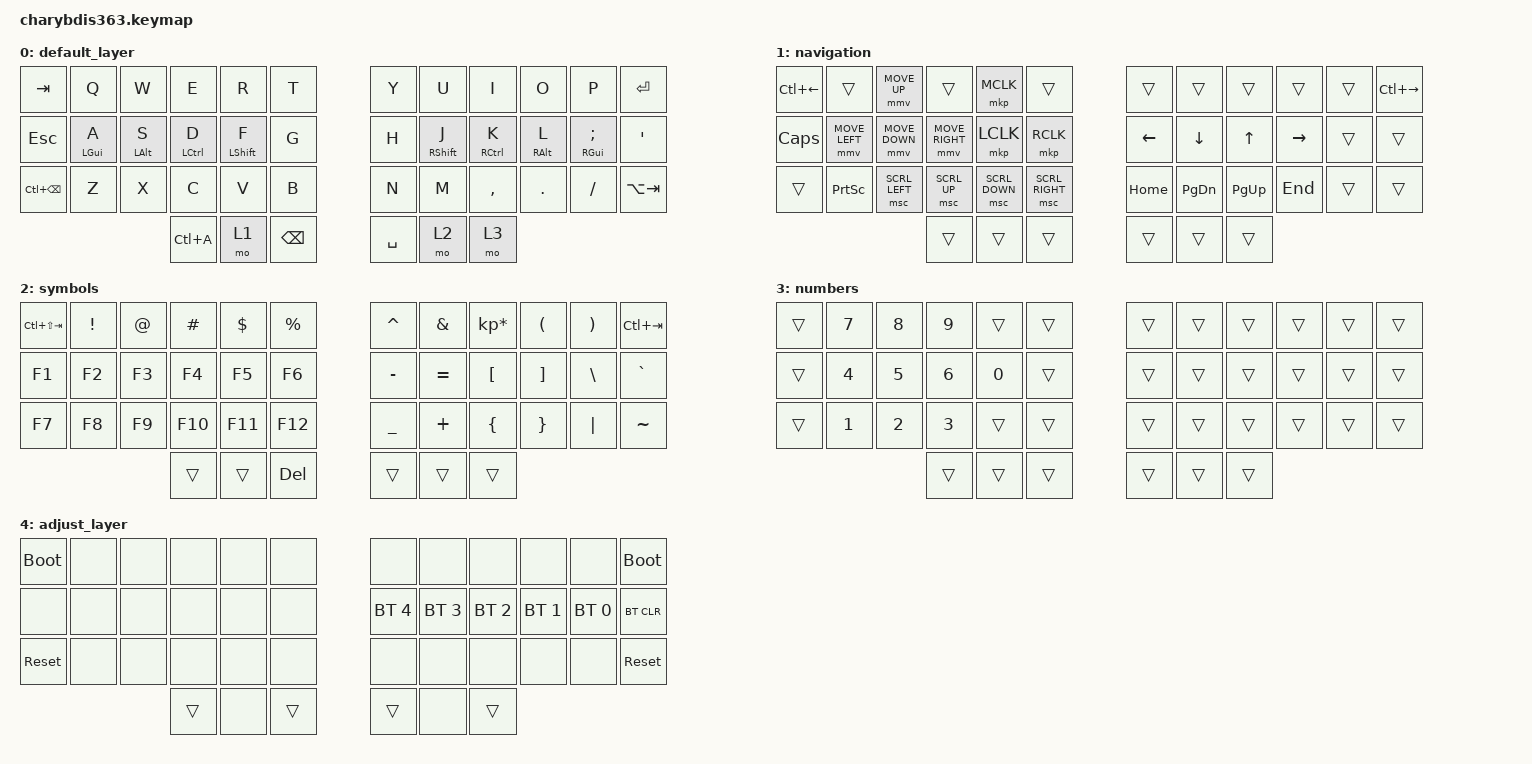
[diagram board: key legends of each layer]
#include <behaviors/mouse_keys.dtsi>
#include <dt-bindings/zmk/mouse.h>
#include <behaviors.dtsi>
#include <dt-bindings/zmk/bt.h>
#include <dt-bindings/zmk/keys.h>

// https://zmk.dev/docs/keymaps/behaviors/mouse-emulation#mouse-emulation-defines
#define ZMK_POINTING_DEFAULT_MOVE_VAL 1500  // default: 600
#define ZMK_POINTING_DEFAULT_SCRL_VAL 15    // default: 10

#include <dt-bindings/zmk/pointing.h>

&mmv {
    time-to-max-speed-ms = <300>;
    acceleration-exponent = <1>;
};

&msc {
    time-to-max-speed-ms = <1000>;
    acceleration-exponent = <0>; 
};

/ {
    chosen { zmk,matrix_transform = &default_transform; };
};

/ {
    behaviors {
        hml: home_row_mod_left {
            compatible = "zmk,behavior-hold-tap";
            #binding-cells = <2>;
            flavor = "balanced";
            require-prior-idle-ms = <75>;
            tapping-term-ms = <280>;
            quick-tap-ms = <175>;
            bindings = <&kp>, <&kp>;
            // TRIGGER: Right Hand Keys (Indices 6-11, 18-23, 30-35) + Right Thumbs (39-41)
            hold-trigger-key-positions = <6 7 8 9 10 11 18 19 20 21 22 23 30 31 32 33 34 35 39 40 41>;
            hold-trigger-on-release;
        };

        hmr: home_row_mod_right {
            compatible = "zmk,behavior-hold-tap";
            #binding-cells = <2>;
            flavor = "balanced";
            require-prior-idle-ms = <75>;
            tapping-term-ms = <280>;
            quick-tap-ms = <175>;
            bindings = <&kp>, <&kp>;
            // TRIGGER: Left Hand Keys (Indices 0-5, 12-17, 24-29) + Left Thumbs (36-38)
            hold-trigger-key-positions = <0 1 2 3 4 5 12 13 14 15 16 17 24 25 26 27 28 29 36 37 38>;
            hold-trigger-on-release;
        };
    };


    combos {

// 00	01	02	03	04	05		06	07	08	09	10	11
// 12	13	14	15	16	17		18	19	20	21	22	23
// 24	25	26	27	28	29		30	31	32	33	34	35
//            36	37	38		39	40	41

        compatible = "zmk,combos";

        EnableAdjust {
            bindings = <&to 4>;
            key-positions = <0 24>;
        };

        DisableAdjust {
            bindings = <&to 0>;
            key-positions = <11 35>;
        };
    };


    keymap {
        compatible = "zmk,keymap";

        default_layer {
            bindings = <
&kp TAB       &kp Q        &kp W        &kp E        &kp R          &kp T     &kp Y      &kp U          &kp I          &kp O        &kp P           &kp RET
&kp ESC       &hml LGUI A  &hml LALT S  &hml LCTL D  &hml LSHIFT F  &kp G     &kp H      &hmr RSHIFT J  &hmr RCTL K    &hmr RALT L  &hmr RGUI SEMI  &kp SQT
&kp LC(BSPC)  &kp Z        &kp X        &kp C        &kp V          &kp B     &kp N      &kp M          &kp COMMA      &kp DOT      &kp FSLH        &kp LA(TAB)
                                        &kp LC(A)    &mo 1          &kp BSPC  &kp SPACE  &mo 2          &mo 3 
            >;
        };

        navigation {
            bindings = <
&kp LC(LEFT)  &trans          &mmv MOVE_UP     &trans           &mkp MCLK       &trans          &trans          &trans         &trans         &trans      &trans  &kp LC(RIGHT)
&kp CAPS      &mmv MOVE_LEFT  &mmv MOVE_DOWN   &mmv MOVE_RIGHT  &mkp LCLK       &mkp RCLK       &kp LEFT        &kp DOWN       &kp UP         &kp RIGHT   &trans  &trans
&trans        &kp PSCRN       &msc SCRL_LEFT   &msc SCRL_UP     &msc SCRL_DOWN  &msc SCRL_RIGHT &kp HOME        &kp PAGE_DOWN  &kp PAGE_UP    &kp END     &trans  &trans
                                               &trans           &trans          &trans          &trans          &trans         &trans
            >;
        };

        symbols {
            bindings = <
&kp LC(LS(TAB))  &kp EXCL  &kp AT   &kp HASH  &kp DLLR   &kp PRCNT   &kp CARET   &kp AMPS  &kp KP_MULTIPLY  &kp LPAR  &kp RPAR  &kp LC(TAB)
&kp F1           &kp F2    &kp F3   &kp F4    &kp F5     &kp F6      &kp MINUS   &kp EQUAL &kp LBKT         &kp RBKT  &kp BSLH  &kp GRAVE
&kp F7           &kp F8    &kp F9   &kp F10   &kp F11    &kp F12     &kp UNDER   &kp PLUS  &kp LBRC         &kp RBRC  &kp PIPE  &kp TILDE
                                    &trans    &trans     &kp DELETE  &trans      &trans    &trans
            >;
        };

        numbers {
            bindings = <
&trans  &kp NUMBER_7  &kp NUMBER_8  &kp NUMBER_9  &trans          &trans   &trans          &trans        &trans            &trans        &trans        &trans
&trans  &kp NUMBER_4  &kp NUMBER_5  &kp NUMBER_6  &kp NUMBER_0    &trans   &trans          &trans        &trans            &trans        &trans        &trans
&trans  &kp NUMBER_1  &kp NUMBER_2  &kp NUMBER_3  &trans          &trans   &trans          &trans        &trans            &trans        &trans        &trans
                                    &trans        &trans          &trans   &trans          &trans        &trans
            >;
        };

        adjust_layer {
            bindings = <
&bootloader  &none         &none         &none         &none         &none           &none         &none         &none         &none         &none         &bootloader
&none        &none         &none         &none         &none         &none           &bt BT_SEL 4  &bt BT_SEL 3  &bt BT_SEL 2  &bt BT_SEL 1  &bt BT_SEL 0  &bt BT_CLR
&sys_reset   &none         &none         &none         &none         &none           &none         &none         &none         &none         &none         &sys_reset
                                         &trans        &none         &trans          &trans        &none         &trans
            >;
        };



    };
};
